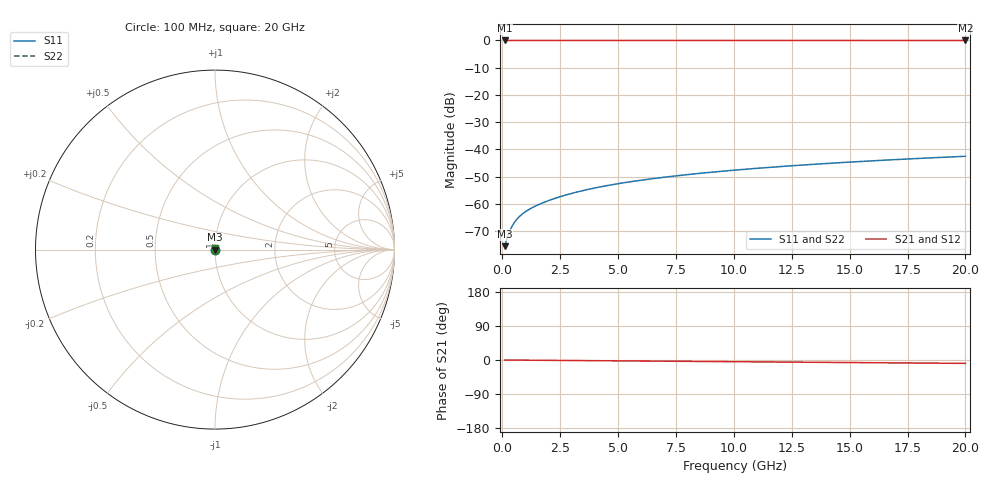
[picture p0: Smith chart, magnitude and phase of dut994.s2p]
! Touchstone file exported from HFSS 2026.1.0
!  File:  C:/ffzhzh/LocalFiles/Ansys_Project_Files/temp_train_TSV_994_1783188222_18472.aedt
!  Generated:  02:05:26 AM Jul  5, 2026
!  Design:  TSV
!  Project:  temp_train_TSV_994_1783188222_18472
! Variables:
!  h_bsmrdl = 2um
!  h_ox = 20um
!  h_rdl = 5um
!  h_sub = 90.97um
!  h_tmrdl = 5um
!  h_tsv = 90.97um
!  h_via = 3um
!  l_bsmrdl = 300um
!  l_sub = 419.84um
!  l_tmrdl = 200um
!  m_sub = 200um
!  pitch = 42.4um
!  r_tsv = 9.92um
!  s_tmrdl = 10um
!  w_bsmrdl = 18um
!  w_sub = 500um
!  w_tmrdl = 12um
!  x_tsv_center1 = 206um
!  x_tsv_center2 = 524um
!  x_tsv_center3 = 736um
!  x_tsv_center4 = 1054um
!  x_tsv_center5 = 1266um
!  x_tsv_center6 = 1584um
# GHz S MA R 50.000000
! Terminal data exported
! Port[1] = TSV1_1_T1
! Port[2] = TSV1_1_T2
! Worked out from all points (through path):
!   200 points, 100 MHz to 20 GHz, reference 50 ohm
!   highest |S21| = 0.00 dB at 100 MHz (marker M1); lowest = 0.0 dB at 20 GHz (marker M2)
!   group delay of S21, straight-line fit = 1.24 ps
!   lowest |S11| = -75.6 dB at 100 MHz (marker M3), VSWR 1.00, Z = 50 + j0.00846 ohm
!   |S11| at or under -10 dB: start of sweep to end of sweep
!   |S22| runs from -75.6 to -42.6 dB; largest |S21 - S12| = 4e-15
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0.1  0.0001661 30.6  0.9999 -0.0  0.9999 -0.0  0.0001661 30.6
! Gamma 0 0 0 0
! Port Impedance 50 0 50 0
0.2  0.0002281 46.7  0.9998 -0.1  0.9998 -0.1  0.0002281 46.7
0.3  0.0002997 53.9  0.9998 -0.1  0.9998 -0.1  0.0002997 53.9
0.4  0.000371 57.2  0.9998 -0.2  0.9998 -0.2  0.000371 57.2
0.5  0.0004386 58.8  0.9998 -0.2  0.9998 -0.2  0.0004386 58.8
0.6  0.0005015 59.6  0.9997 -0.3  0.9997 -0.3  0.0005015 59.6
0.7  0.0005599 60.0  0.9997 -0.3  0.9997 -0.3  0.0005599 60.0
0.8  0.0006143 60.4  0.9997 -0.4  0.9997 -0.4  0.0006143 60.4
1  0.000714 61.0  0.9997 -0.5  0.9997 -0.5  0.000714 61.0
1.4  0.0008925 62.5  0.9996 -0.6  0.9996 -0.6  0.0008925 62.5
2  0.001143 64.8  0.9995 -0.9  0.9995 -0.9  0.001143 64.8
2.7  0.001429 66.8  0.9995 -1.2  0.9995 -1.2  0.001429 66.8
3.5  0.001752 68.3  0.9994 -1.6  0.9994 -1.6  0.001752 68.3
4.2  0.002028 69.2  0.9993 -1.9  0.9993 -1.9  0.002028 69.2
5  0.002336 69.8  0.9993 -2.2  0.9993 -2.2  0.002336 69.8
5.9  0.002672 70.2  0.9992 -2.7  0.9992 -2.7  0.002672 70.2
6.8  0.003001 70.6  0.9991 -3.1  0.9991 -3.1  0.003001 70.6
8.3  0.003536 70.9  0.9991 -3.7  0.9991 -3.7  0.003536 70.9
10.1  0.004164 71.1  0.999 -4.5  0.999 -4.5  0.004164 71.1
13.4  0.005288 71.1  0.9988 -6.0  0.9988 -6.0  0.005288 71.1
16.7  0.006383 70.6  0.9987 -7.4  0.9987 -7.4  0.006383 70.6
20  0.007441 69.8  0.9985 -8.9  0.9985 -8.9  0.007441 69.8
